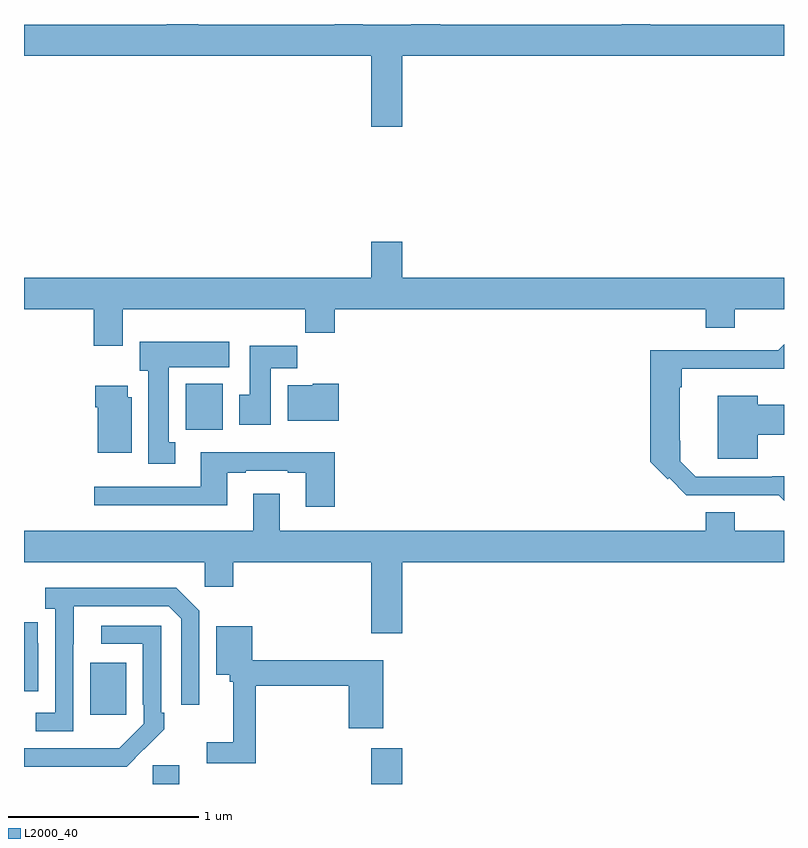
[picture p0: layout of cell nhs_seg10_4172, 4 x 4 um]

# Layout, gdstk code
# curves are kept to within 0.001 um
import gdstk
lib = gdstk.Library(unit=1e-6, precision=1e-09)
def R(c, l, rs):  # rectangles x0, y0, x1, y1
    for r in rs: c.add(gdstk.rectangle(r[:2], r[2:], *l))
def P(c, l, *ps):  # polygons
    for p in ps: c.add(gdstk.Polygon(p, *l))
L2000_40 = (2000, 40)

nhs_seg10_4172 = lib.new_cell('nhs_seg10_4172')
R(nhs_seg10_4172, L2000_40, [(343.677,1280.5,343.816,1280.598), (344.828,1280.5,344.992,1280.689), (343.349,1280.865,343.537,1281.139), (343.85,1282.364,344.047,1282.606)])
P(nhs_seg10_4172, L2000_40, [(344.992,1284.332),(347,1284.332),(347,1284.496),(346.296,1284.496),(346.296,1284.5),(346.145,1284.5),(346.145,1284.496),(345.191,1284.496),(345.191,1284.5),(345.038,1284.5),(345.038,1284.496),(344.782,1284.496),(344.782,1284.5),(344.635,1284.5),(344.635,1284.496),(343.916,1284.496),(343.916,1284.5),(343.751,1284.5),(343.751,1284.496),(343,1284.496),(343,1284.332),(344.828,1284.332),(344.828,1283.958),(344.992,1283.958)],
  [(343.519,1283),(344.479,1283),(344.479,1282.876),(344.636,1282.876),(344.636,1283),(346.589,1283),(346.589,1282.901),(346.741,1282.901),(346.741,1283),(347,1283),(347,1283.164),(344.992,1283.164),(344.992,1283.353),(344.828,1283.353),(344.828,1283.164),(343,1283.164),(343,1283),(343.367,1283),(343.367,1282.806),(343.519,1282.806)],
  [(343.795,1282.298),(343.762,1282.298),(343.762,1282.694),(344.08,1282.694),(344.08,1282.828),(343.61,1282.828),(343.61,1282.674),(343.655,1282.674),(343.655,1282.185),(343.795,1282.185)],
  [(347,1282.119),(346.937,1282.119),(346.937,1282.116),(346.536,1282.116),(346.453,1282.2),(346.453,1282.306),(346.45,1282.306),(346.45,1282.589),(346.463,1282.589),(346.463,1282.685),(347,1282.685),(347,1282.814),(346.97,1282.784),(346.865,1282.784),(346.865,1282.782),(346.295,1282.782),(346.295,1282.197),(346.388,1282.103),(346.395,1282.111),(346.485,1282.02),(346.973,1282.019),(347,1281.992)],
  [(344.299,1282.688),(344.438,1282.688),(344.438,1282.807),(344.189,1282.807),(344.189,1282.548),(344.132,1282.548),(344.132,1282.392),(344.299,1282.392)],
  [(344.656,1282.606),(344.52,1282.606),(344.52,1282.6),(344.387,1282.6),(344.387,1282.412),(344.656,1282.412)],
  [(343.567,1282.536),(343.546,1282.536),(343.546,1282.597),(343.376,1282.597),(343.376,1282.484),(343.388,1282.484),(343.388,1282.244),(343.567,1282.244)],
  [(346.861,1282.337),(347,1282.337),(347,1282.495),(346.861,1282.495),(346.861,1282.543),(346.652,1282.543),(346.652,1282.211),(346.861,1282.211)],
  [(344.636,1282.246),(343.931,1282.246),(343.931,1282.065),(343.371,1282.065),(343.371,1281.968),(344.071,1281.968),(344.071,1282.137),(344.167,1282.137),(344.167,1282.149),(344.387,1282.149),(344.387,1282.137),(344.483,1282.137),(344.483,1281.96),(344.636,1281.96)],
  [(344.992,1281.668),(347,1281.668),(347,1281.832),(346.741,1281.832),(346.741,1281.931),(346.589,1281.931),(346.589,1281.832),(344.347,1281.832),(344.347,1282.027),(344.207,1282.027),(344.207,1281.832),(343,1281.832),(343,1281.668),(343.95,1281.668),(343.95,1281.537),(344.102,1281.537),(344.102,1281.668),(344.828,1281.668),(344.828,1281.294),(344.992,1281.294)],
  [(343.26,1281.235),(343.261,1281.435),(343.761,1281.435),(343.827,1281.369),(343.827,1280.916),(343.923,1280.916),(343.923,1281.411),(343.802,1281.532),(343.113,1281.532),(343.113,1281.422),(343.164,1281.422),(343.164,1280.874),(343.062,1280.874),(343.062,1280.778),(343.26,1280.778)],
  [(343.074,1281.242),(343.073,1281.242),(343.073,1281.351),(343,1281.351),(343,1280.988),(343.074,1280.988)],
  [(343.631,1280.683),(343.632,1280.682),(343.737,1280.787),(343.737,1280.875),(343.722,1280.875),(343.722,1281.333),(343.407,1281.333),(343.407,1281.237),(343.626,1281.237),(343.626,1280.917),(343.629,1280.917),(343.629,1280.817),(343.501,1280.689),(343,1280.688),(343,1280.592),(343.54,1280.592)],
  [(344.219,1281.016),(344.708,1281.016),(344.708,1280.793),(344.891,1280.793),(344.891,1281.152),(344.2,1281.152),(344.2,1281.331),(344.012,1281.331),(344.012,1281.074),(344.084,1281.074),(344.084,1281.039),(344.102,1281.039),(344.102,1280.719),(343.962,1280.719),(343.962,1280.61),(344.219,1280.61)])

lib.write_gds('nhs_seg10_4172.gds')
